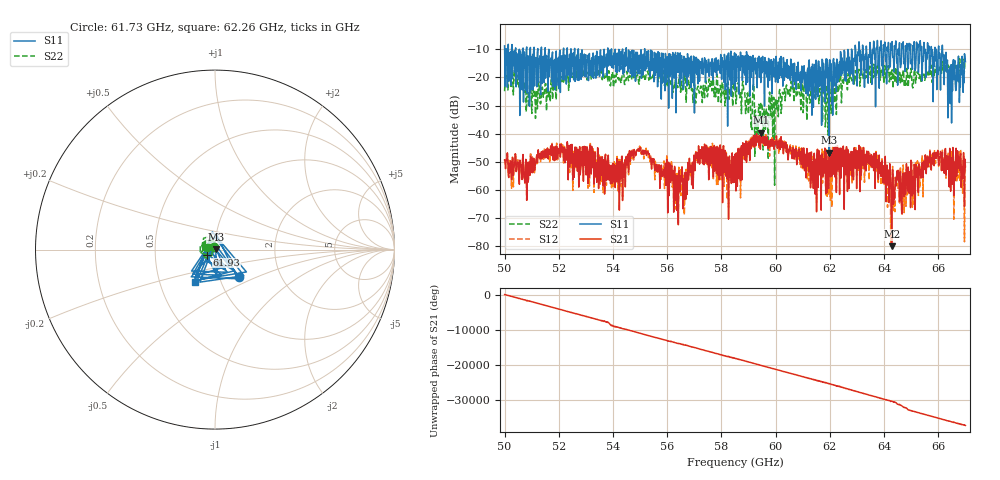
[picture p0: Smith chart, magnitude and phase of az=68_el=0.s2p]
!Created with skrf (http://scikit-rf.org).
# GHz S RI R 50.0
!freq ReS11 ImS11 ReS21 ImS21 ReS12 ImS12 ReS22 ImS22
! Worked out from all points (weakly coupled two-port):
!   1001 points, 50 GHz to 67 GHz, reference 50 ohm
!   highest |S21| = -39.64 dB at 59.47 GHz (marker M1); lowest = -80.1 dB at 64.28 GHz (marker M2)
!   lowest |S11| = -46.8 dB at 61.97 GHz (marker M3), VSWR 1.01, Z = 50.4 + j0.278 ohm
!   |S11| at or under -10 dB: 52.72 GHz to 53.67 GHz (951.6 MHz wide, 1.79 % of centre); 55.17 GHz to 62.8 GHz (7.632 GHz wide, 12.9 % of centre); 66.16 GHz to end of sweep (the widest 3 of 67)
!   |S22| runs from -58.4 to -13.3 dB; largest |S21 - S12| = 0.0021
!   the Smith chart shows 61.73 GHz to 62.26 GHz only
!   S11 on the Smith chart (normalised r, x): 61.73 GHz: 1.24, -0.39; 61.93 GHz: 0.91, -0.05; 62.26 GHz: 0.75, -0.28
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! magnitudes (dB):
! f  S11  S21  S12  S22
! 50 GHz  -8.8  -49.4  -49.1  -24.9
! 51.14 GHz  -12.9  -50.9  -50.8  -34.6
! 52.84 GHz  -13.0  -50.1  -51.7  -19.5
! 54.15 GHz  -18.2  -48.7  -48.2  -19.4
! 54.95 GHz  -12.1  -45.8  -45.5  -22.1
! 55.68 GHz  -13.6  -52.1  -52.3  -21.6
! 56.32 GHz  -32.6  -55.1  -53.8  -20.6
! 57.31 GHz  -14.9  -50.7  -50.6  -26.0
! 58.5 GHz  -24.6  -47.4  -48.2  -24.1
! 59.47 GHz  -13.0  -39.6  -40.7  -29.2
! 61.34 GHz  -33.4  -56.4  -57.4  -26.7
! 61.73 GHz  -13.9  -55.1  -57.6  -35.6
! 61.93 GHz  -25.4  -49.6  -48.3  -40.5
! 61.97 GHz  -46.8  -49.4  -51.2  -23.4
! 62.26 GHz  -13.5  -47.7  -47.9  -25.3
! 63.67 GHz  -12.1  -59.5  -55.3  -19.8
! 64.18 GHz  -12.0  -64.5  -54.5  -17.6
! 64.28 GHz  -10.2  -80.1  -66.2  -18.3
! 65.89 GHz  -14.1  -48.2  -50.7  -17.7
! 66.22 GHz  -22.6  -54.1  -52.8  -14.5
! 66.44 GHz  -29.3  -47.1  -48.1  -16.3
! 67 GHz  -14.4  -51.8  -54.0  -14.6
